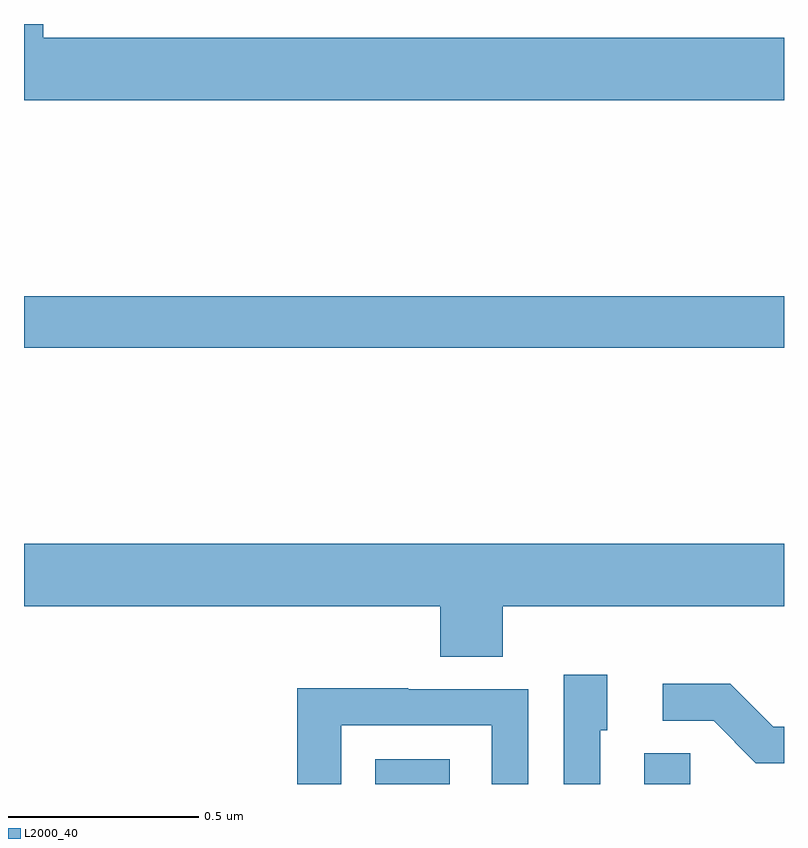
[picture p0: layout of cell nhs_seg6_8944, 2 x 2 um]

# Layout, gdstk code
import gdstk
lib = gdstk.Library(unit=1e-6, precision=1e-09)
def R(c, l, rs):  # rectangles x0, y0, x1, y1
    for r in rs: c.add(gdstk.rectangle(r[:2], r[2:], *l))
def P(c, l, *ps):  # polygons
    for p in ps: c.add(gdstk.Polygon(p, *l))
L2000_40 = (2000, 40)

nhs_seg6_8944 = lib.new_cell('nhs_seg6_8944')
R(nhs_seg6_8944, L2000_40, [(227.924,981.5,228.121,981.565), (228.632,981.5,228.753,981.581), (227,982.648,229,982.784)])
P(nhs_seg6_8944, L2000_40, [(229,983.464),(227.051,983.464),(227.051,983.5),(227,983.5),(227,983.3),(229,983.3)],
  [(228.26,981.968),(229,981.968),(229,982.132),(227,982.132),(227,981.968),(228.095,981.968),(228.095,981.835),(228.26,981.835)],
  [(228.516,981.642),(228.535,981.642),(228.535,981.787),(228.42,981.787),(228.42,981.5),(228.516,981.5)],
  [(229,981.651),(228.972,981.651),(228.859,981.764),(228.681,981.764),(228.681,981.666),(228.815,981.666),(228.926,981.555),(229,981.555)],
  [(227.835,981.654),(228.231,981.654),(228.231,981.5),(228.327,981.5),(228.327,981.75),(228.011,981.75),(228.011,981.752),(227.719,981.752),(227.719,981.5),(227.835,981.5)])

lib.write_gds('nhs_seg6_8944.gds')
